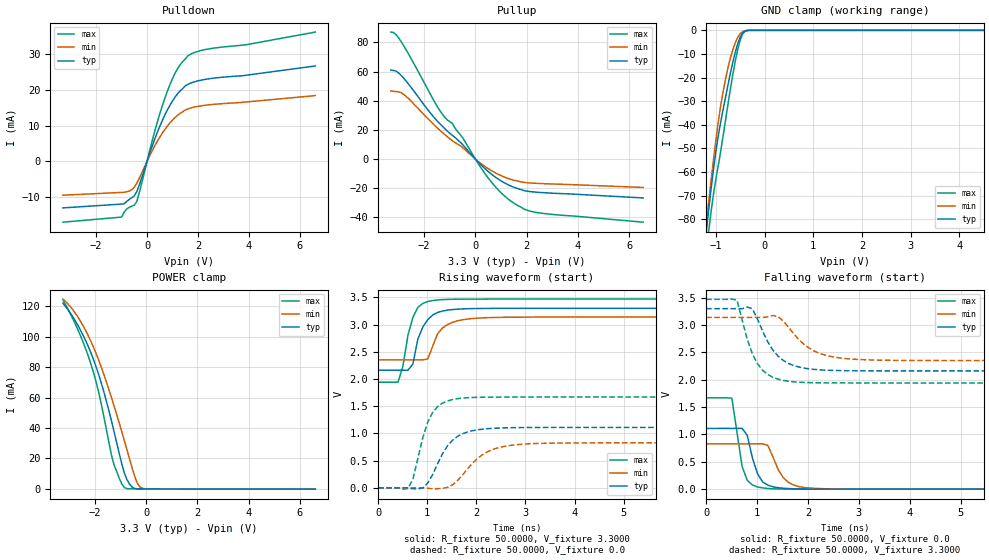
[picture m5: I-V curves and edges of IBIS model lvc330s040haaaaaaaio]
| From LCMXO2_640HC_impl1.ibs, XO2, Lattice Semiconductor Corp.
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[Model]   lvc330s040haaaaaaaio
Model_type   I/O
Polarity   Non-Inverting
Enable   Active-Low
Vinl =   0.8000V
Vinh =   2.0000V
Vmeas =   1.500000V
Cref =   0.0F
Rref =   1.0000M
Vref =   0.0V
C_comp   4.2000pF   3.8000pF   7.5000pF
[Temperature Range]   25.0000   0.1050k   -40.0000
[Voltage Range]   3.3000V   3.1400V   3.4700V
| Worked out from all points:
|   slope of the pulldown table from 0 to 0.495 V, typ, clamps not added: 50.7 ohm
|   slope of the pullup table from 0 to 0.495 V, typ, clamps not added: 58.5 ohm
|   GND clamp passes 1 mA (typ) near -0.44 V on its own axis
|   POWER clamp passes 1 mA (typ) near -0.53 V on its own axis
|   rising waveform, R_fixture 50.0000, V_fixture 3.3000: 20-80 % time 264ps typ, 311ps min, 218ps max; typ from 2.16 V to 3.3 V
|   rising waveform, R_fixture 50.0000, V_fixture 0.0: 20-80 % time 438ps typ, 579ps min, 327ps max; typ from 0 V to 1.11 V
|   falling waveform, R_fixture 50.0000, V_fixture 0.0: 20-80 % time 219ps typ, 291ps min, 181ps max; typ from 1.11 V to 0 V
|   falling waveform, R_fixture 50.0000, V_fixture 3.3000: 20-80 % time 443ps typ, 565ps min, 361ps max; typ from 3.3 V to 2.16 V
[Pulldown]
|Voltage   I(typ)   I(min)   I(max)
-3.3V     -13.02mA   -9.459mA   -17.02mA
-1V       -11.94mA   -8.676mA   -15.6mA
-800mV    -11.2mA    -8.504mA   -13.33mA
-500mV    -9.624mA   -7.225mA   -12.27mA
-400mV    -8.456mA   -6.081mA   -11.2mA
300mV     6.235mA    4.335mA    8.424mA
700mV     13.03mA    8.978mA    17.75mA
1.1V      18.03mA    12.33mA    24.74mA
1.6V      21.6mA     14.72mA    29.61mA
2.4V      23.15mA    15.86mA    31.52mA
3.9V      24.18mA    16.69mA    32.74mA
6.6V      26.77mA    18.46mA    36.26mA
[Pullup]
|Voltage   I(typ)   I(min)   I(max)
-3.3V     60.97mA    46.63mA    87.02mA
-3.1V     60.3mA     46.26mA    85.35mA
-2.8V     55.47mA    44.38mA    77.77mA
-1.8V     32.53mA    26.69mA    45.89mA
-1.3V     22.63mA    18.36mA    31.06mA
-900mV    16.24mA    12.6mA     24.47mA
500mV     -8.539mA   -6.566mA   -13.01mA
900mV     -13.85mA   -10.56mA   -21.29mA
1.3V      -17.84mA   -13.47mA   -27.72mA
1.9V      -21.64mA   -16.02mA   -34.34mA
2.4V      -22.76mA   -16.68mA   -36.68mA
6.55V     -26.68mA   -19.5mA    -43.31mA
[GND_clamp]
|Voltage   I(typ)   I(min)   I(max)
-3.3V     -955.2mA   -930.2mA   -977.8mA
-1.2V     -86.08mA   -82.87mA   -94.74mA
-1.15V    -76.63mA   -73.22mA   -85.57mA
-1.1V     -67.6mA    -63.89mA   -77.12mA
-1V       -51.41mA   -46.51mA   -63.06mA
-900mV    -38.77mA   -31.82mA   -51.11mA
-800mV    -28.16mA   -20.53mA   -37.82mA
-700mV    -18.01mA   -11.58mA   -24.66mA
-600mV    -9.185mA   -5.219mA   -12.92mA
-450mV    -1.125mA   -553.6uA   -1.501mA
-300mV    0A         0A         0A
6.6V      0A         0A         0A
[POWER_clamp]
|Voltage   I(typ)   I(min)   I(max)
-3.25V    122.1mA    124.8mA    124.2mA
-2.65V    107.1mA    112.6mA    104.1mA
-2.35V    97.06mA    103.7mA    91.56mA
-2.05V    84.81mA    92.86mA    76.2mA
-1.65V    63.69mA    75.19mA    47.4mA
-1.35V    44.32mA    59.82mA    21.89mA
-1.25V    37.38mA    54.39mA    15.53mA
-850mV    10.3mA     31.63mA    860uA
-650mV    3.168mA    19.76mA    65.53uA
-350mV    73.34uA    3.862mA    3.121uA
-150mV    17.77uA    366.8uA    -28.16uA
6.6V      -130.5uA   -83.29uA   -201.6uA
[Ramp]
| variable   typ   min   max
dV/dt_r  0.7026/0.4330n   0.4966/0.5731n   1.0018/0.3242n
dV/dt_f  0.6827/0.4387n   0.4730/0.5599n   0.9168/0.3576n
R_load = 50.0000
[Rising Waveform]
R_fixture=   50.0000
V_fixture=   3.3000
V_fixture_min=   3.1400
V_fixture_max=   3.4700
|time   V(typ)   V(min)   V(max)
0s        2.162V     2.352V     1.942V
404ps     2.162V     2.352V     1.942V
606.1ps   2.162V     2.352V     2.806V
707.1ps   2.276V     2.352V     3.134V
808.1ps   2.736V     2.352V     3.316V
1.01ns    3.091V     2.37V      3.424V
1.111ns   3.177V     2.605V     3.443V
1.414ns   3.267V     3.002V     3.464V
2.02ns    3.296V     3.119V     3.47V
10ns      3.3V       3.14V      3.47V
[Rising Waveform]
R_fixture=   50.0000
V_fixture=   0.0
V_fixture_min=   0.0
V_fixture_max=   0.0
|time   V(typ)   V(min)   V(max)
0s        1.288uV    1.554uV    1.323uV
606.1ps   -395.5uV   2.808uV    -9.94mV
707.1ps   -15.72mV   17.67uV    156.1mV
909.1ps   -458.6uV   -207.2uV   922.6mV
1.01ns    88.34mV    -6.184mV   1.209V
1.212ns   447.1mV    -16.04mV   1.495V
1.515ns   876.6mV    55.59mV    1.623V
2.121ns   1.079V     606.6mV    1.666V
2.828ns   1.107V     794.2mV    1.669V
10ns      1.111V     827.7mV    1.67V
[Falling Waveform]
R_fixture=   50.0000
V_fixture=   0.0
V_fixture_min=   0.0
V_fixture_max=   0.0
|time   V(typ)   V(min)   V(max)
0s        1.111V     827.7mV    1.67V
505.1ps   1.111V     827.7mV    1.664V
707.1ps   1.111V     827.7mV    415.7mV
808.1ps   985.1mV    827.7mV    161.2mV
1.01ns    281.4mV    828.2mV    40.87mV
1.111ns   132.9mV    828.5mV    22.94mV
1.212ns   73.68mV    799.7mV    12.45mV
1.515ns   17.1mV     211.6mV    2.151mV
2.02ns    2.152mV    21.8mV     239.2uV
10ns      -1.071uV   8.416uV    -6.671uV
[Falling Waveform]
R_fixture=   50.0000
V_fixture=   3.3000
V_fixture_min=   3.1400
V_fixture_max=   3.4700
|time   V(typ)   V(min)   V(max)
0s        3.3V       3.14V      3.47V
606.1ps   3.3V       3.14V      3.457V
808.1ps   3.33V      3.14V      2.74V
909.1ps   3.299V     3.14V      2.475V
1.01ns    3.108V     3.141V     2.293V
1.212ns   2.692V     3.151V     2.097V
1.515ns   2.355V     3.075V     1.988V
2.02ns    2.2V       2.581V     1.948V
2.727ns   2.167V     2.389V     1.942V
10ns      2.162V     2.352V     1.942V
